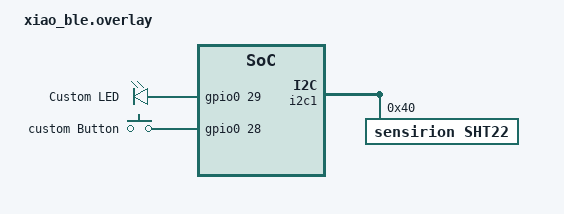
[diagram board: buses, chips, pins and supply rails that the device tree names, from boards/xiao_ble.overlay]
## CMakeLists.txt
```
# SPDX-License-Identifier: Apache-2.0

cmake_minimum_required(VERSION 3.20.0)
find_package(Zephyr REQUIRED HINTS $ENV{ZEPHYR_BASE})
project(doorSensor)

target_sources(app PRIVATE
    src/main.c
    src/ble_service.c
    src/button.c
    src/LED.c
    src/sht_sensor.c
        
)
```

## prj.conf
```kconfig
# I2C temp sensor
CONFIG_I2C=y
CONFIG_SENSOR=y
# CONFIG_SHT22=y
# CONFIG_SHT21=y

CONFIG_GPIO=y
# Prototyping
CONFIG_SHELL=n
CONFIG_I2C_SHELL=n

CONFIG_STDOUT_CONSOLE=y
CONFIG_ASSERT=y
CONFIG_LOG=y
# CONFIG_USB_DEVICE_STACK=y

# Bluetooth LE
CONFIG_BT=y

CONFIG_BT_PERIPHERAL=y
CONFIG_BT_DEVICE_NAME="MY_LBS1"

# Increase stack size for the main thread and System Workqueue
CONFIG_SYSTEM_WORKQUEUE_STACK_SIZE=2048
CONFIG_MAIN_STACK_SIZE=2048
```

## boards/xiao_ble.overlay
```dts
/ {
	leds {
		customled: custom-led {
			gpios = <&gpio0 29 0>;
			label = "Custom LED";
		};
	};

	aliases {
		customled = &customled;
		custombutton = &custombutton;
		temp = &{/soc/i2c@40004000/sht22@40/};
	};

	buttons {
		compatible = "gpio-keys";
		custombutton: custom-button {
			gpios = <&gpio0 28 GPIO_PULL_DOWN>;
			label = "custom Button";		
		};
		debounce-interval-ms = <5000>;
	};
};

&i2c1 {
	// status = "okay";
	sht22@40 {
		compatible = "sensirion,sht22";
		reg = <0x40>;
		status = "okay";
	};
};
```

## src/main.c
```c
#include <stdio.h>
#include <zephyr/kernel.h>
#include <zephyr/device.h>
#include <zephyr/devicetree.h>
#include <zephyr/logging/log.h>
#include <zephyr/drivers/gpio.h>
#include <zephyr/drivers/sensor.h>
#include "ble_service.h"
#include "button.h"
#include "LED.h"

LOG_MODULE_REGISTER(WirelessDoorSensor, LOG_LEVEL_INF);

#define SLEEP_TIME_MS 100
#define TEMP_SENSOR DT_ALIAS(temp)

const struct device *const dev = DEVICE_DT_GET(TEMP_SENSOR);

typedef struct adv_sensor_data {
	int32_t temperature; 
	uint16_t humidity; 
} adv_sensor_data_type;

static adv_sensor_data_type adv_sensor_data = { 0, 0 };

int main(void)
{
	struct sensor_value temp_value;
	struct sensor_value humidity_value;
	__ASSERT(dev != NULL, "Failed to get device binding");
	__ASSERT(device_is_ready(dev), "Device %s is not ready", dev->name);
	printk("device is %p, name is %s\n", dev, dev->name);

	led_init();

	int err;

	ble_init();

	while (1)
	{
		err = sensor_sample_fetch(dev);
		if (err) {
			printk("sensor_sample_fetch failed ret %d\n", err);
			return;
		}
		err = sensor_channel_get(dev, SENSOR_CHAN_AMBIENT_TEMP, &temp_value);
		if (err) {
			printk("Temperature sensor_channel_get failed ret %d\n", err);
			return;
		}
		err = sensor_channel_get(dev, SENSOR_CHAN_HUMIDITY, &humidity_value);
		if (err) {
		printk("Humidity sensor_channel_get failed ret %d\n", err);
			return;
		}
		adv_sensor_data.humidity = humidity_value.val1 * 100 + humidity_value.val2;
		adv_sensor_data.temperature = temp_value.val1 * 100 + temp_value.val2;
		my_lbs_send_temp_notify((uint32_t)adv_sensor_data.temperature);
		my_lbs_send_humidity_notify(adv_sensor_data.humidity);
		printk("temp: %d.%d °C \t humidity is %d.%d%% \n", temp_value.val1,
					  temp_value.val2,humidity_value.val1, humidity_value.val2);
		update_advertisement_data();
		k_msleep(1500);
		
	}

	return 0;
}
```

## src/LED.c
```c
#include <zephyr/drivers/gpio.h>
#include <zephyr/logging/log.h>

#include "LED.h"
LOG_MODULE_REGISTER(LEDModule, LOG_LEVEL_INF);

static const struct gpio_dt_spec custom_led = GPIO_DT_SPEC_GET(CUSTOM_LED, gpios);

int led_init(void)
{
	int ret;
	bool led_state = true;

	if (!gpio_is_ready_dt(&custom_led))
	{
		LOG_ERR("Custom led not ready");
		return -1;
	}
	ret = gpio_pin_configure_dt(&custom_led, GPIO_OUTPUT_ACTIVE);
	if (ret < 0)
	{
		LOG_ERR("Custom led not ready (err %d)", ret);
		return ret;
	}
	return 0;
}
```

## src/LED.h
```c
#ifndef LED_H
#define LED_H

#define CUSTOM_LED DT_ALIAS(customled)

int led_init(void);

#endif
```

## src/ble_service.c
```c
#include <zephyr/bluetooth/bluetooth.h>
#include <zephyr/bluetooth/conn.h>
#include <zephyr/bluetooth/gap.h>
#include <zephyr/bluetooth/gatt.h>
#include <zephyr/bluetooth/gatt.h>
#include <zephyr/bluetooth/uuid.h>
#include <zephyr/bluetooth/addr.h>

#include <zephyr/logging/log.h>
#include "ble_service.h"
LOG_MODULE_REGISTER(BleService, LOG_LEVEL_INF);

struct bt_conn *my_conn = NULL;

static bool notify_temperature_enabled;
static bool notify_humidity_enabled;


static struct bt_gatt_indicate_params ind_params;

void on_connected(struct bt_conn *conn, uint8_t err)
{
    if (err) {
        LOG_ERR("Connection error %d", err);
        return;
    }
    LOG_INF("Connected");
    my_conn = bt_conn_ref(conn);

	// gpio_pin_toggle_dt(&custom_led);
	// gpio_pin_set_dt(&custom_led,1);
}

void on_disconnected(struct bt_conn *conn, uint8_t reason)
{
    LOG_INF("Disconnected. Reason %d", reason);
    bt_conn_unref(my_conn);

	// gpio_pin_toggle_dt(&custom_led);
	// gpio_pin_set_dt(&custom_led,0);

}

struct bt_conn_cb connection_callbacks = {
    .connected = on_connected,
    .disconnected = on_disconnected,
};
static const struct bt_le_adv_param *adv_param = BT_LE_ADV_PARAM(
	(BT_LE_ADV_OPT_CONNECTABLE |
	 BT_LE_ADV_OPT_USE_IDENTITY), /* Connectable advertising and use identity address */
	BT_GAP_ADV_FAST_INT_MIN_1, /* 0x30 units, 48 units, 30ms */
	BT_GAP_ADV_FAST_INT_MAX_1, /* 0x60 units, 96 units, 60ms */
	NULL); /* Set to NULL for undirected advertising */

static const struct bt_data ad[] = {
	BT_DATA_BYTES(BT_DATA_FLAGS, (BT_LE_AD_GENERAL | BT_LE_AD_NO_BREDR)),
	BT_DATA(BT_DATA_NAME_COMPLETE, DEVICE_NAME, DEVICE_NAME_LEN),
};
BT_GATT_SERVICE_DEFINE(
    custom_service,
	BT_GATT_PRIMARY_SERVICE(BT_UUID_MY_SERVICE),
	BT_GATT_CHARACTERISTIC(BT_UUID_MY_TEMPERATURE, BT_GATT_CHRC_READ|BT_GATT_CHRC_NOTIFY,BT_GATT_PERM_READ, my_read_temperature, NULL, NULL),
	BT_GATT_CCC(mylbsbc_ccc_temperature_changed,BT_GATT_PERM_READ | BT_GATT_PERM_WRITE),
	BT_GATT_CHARACTERISTIC(BT_UUID_MY_HUMIDITY, BT_GATT_CHRC_READ|BT_GATT_CHRC_NOTIFY,BT_GATT_PERM_READ, my_read_humidity, NULL, NULL),
	BT_GATT_CCC(mylbsbc_ccc_humidity_changed,BT_GATT_PERM_READ | BT_GATT_PERM_WRITE),

);
ssize_t my_read_temperature(struct bt_conn *conn,const struct bt_gatt_attr *attr, void *buf,uint16_t len, uint16_t offset,int32_t temperature){
    return bt_gatt_attr_read(conn, attr, buf, len, offset,&temperature,sizeof(temperature));
}

ssize_t my_read_humidity(struct bt_conn *conn,const struct bt_gatt_attr *attr, void *buf,uint16_t len, uint16_t offset,uint16_t humidity){
    return bt_gatt_attr_read(conn, attr, buf, len, offset,&humidity,sizeof(humidity));
}

static void mylbsbc_ccc_temperature_changed(const struct bt_gatt_attr *attr,uint16_t value){
	notify_temperature_enabled = (value == BT_GATT_CCC_NOTIFY);
	LOG_INF("Temperature notification %s", notify_temperature_enabled ? "enabled" : "disabled");
}

static void mylbsbc_ccc_humidity_changed(const struct bt_gatt_attr *attr,uint16_t value){
	notify_humidity_enabled = (value == BT_GATT_CCC_NOTIFY);
	LOG_INF("Humidity notification %s", notify_humidity_enabled ? "enabled" : "disabled");
}



int my_lbs_send_temp_notify(uint32_t temp_value)
{
	if (!notify_temperature_enabled) {
		LOG_ERR("notify_temperature_enabled is not enabled/set");
		return -EACCES;
	}

	return bt_gatt_notify(NULL, &custom_service.attrs[2],&temp_value,sizeof(temp_value));
}

int my_lbs_send_humidity_notify(uint16_t humidity_value){
	if (!notify_humidity_enabled) {
		LOG_ERR("notify_humidity_enabled is not enabled/set");
		return -EACCES;
	}

	return bt_gatt_notify(NULL, &custom_service.attrs[4],&humidity_value,sizeof(humidity_value));
}
int ble_init(){
    int err = bt_conn_cb_register(&connection_callbacks);
    if (err) {
		LOG_ERR("Connection callback register failed (err %d)", err);
        return err;
    }
    err = bt_enable(NULL);
	if (err)
	{
		LOG_ERR("Bluetooth init failed (err %d)\n", err);
		return err;
	}
	err = bt_le_adv_start(adv_param, ad, ARRAY_SIZE(ad), NULL ,0);
	if (err)
	{
		LOG_ERR("Advertising failed to start (err %d)\n", err);
		return err;
	}
    return 0;
}

void update_advertisement_data(){
    bt_le_adv_update_data(ad, ARRAY_SIZE(ad), NULL,0);
}
```

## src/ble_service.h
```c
#ifndef BLE_SERVICE_H
#define BLE_SERVICE_H
#include <stdio.h>
#include <zephyr/kernel.h>

#include <zephyr/bluetooth/bluetooth.h>
#include <zephyr/bluetooth/conn.h>
#include <zephyr/bluetooth/gap.h>
#include <zephyr/bluetooth/gatt.h>
#include <zephyr/bluetooth/gatt.h>
#include <zephyr/bluetooth/uuid.h>
#include <zephyr/bluetooth/addr.h>

#define BT_UUID_MY_SERVICE_VALUE BT_UUID_128_ENCODE(0xc504356a,0x8d14,0x480b,0x8fca,0x09800799ccf1)
#define BT_UUID_MY_SERVICE BT_UUID_DECLARE_128(BT_UUID_MY_SERVICE_VALUE)

#define BT_UUID_MY_TEMPERATURE_VALUE BT_UUID_128_ENCODE(0xc504356a,0x8d14,0x480b,0x8fca,0x09800799ccf2)
#define BT_UUID_MY_TEMPERATURE BT_UUID_DECLARE_128(BT_UUID_MY_TEMPERATURE_VALUE)

#define BT_UUID_MY_HUMIDITY_VALUE BT_UUID_128_ENCODE(0xc504356a,0x8d14,0x480b,0x8fca,0x09800799ccf3)
#define BT_UUID_MY_HUMIDITY BT_UUID_DECLARE_128(BT_UUID_MY_HUMIDITY_VALUE)

#define DEVICE_NAME CONFIG_BT_DEVICE_NAME
#define DEVICE_NAME_LEN (sizeof(DEVICE_NAME) - 1)

ssize_t my_read_temperature(struct bt_conn *conn,const struct bt_gatt_attr *attr, void *buf,uint16_t len, uint16_t offset,int32_t temperature);
ssize_t my_read_humidity(struct bt_conn *conn,const struct bt_gatt_attr *attr, void *buf,uint16_t len, uint16_t offset,uint16_t humidity);

static void mylbsbc_ccc_temperature_changed(const struct bt_gatt_attr *attr,uint16_t value);
static void mylbsbc_ccc_humidity_changed(const struct bt_gatt_attr *attr,uint16_t value);

int ble_init();
void update_advertisement_data();
void on_connected(struct bt_conn *conn, uint8_t err);
void on_disconnected(struct bt_conn *conn, uint8_t reason);


#endif
```

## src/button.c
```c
#include "button.h"

static const struct gpio_dt_spec custom_button = GPIO_DT_SPEC_GET(CUSTOM_BUTTON, gpios);
static struct gpio_callback button_cb_data;

static void button_pressed(const struct device *dev, struct gpio_callback *cb, uint32_t pins)
{
	// printf("Pressed\n");
    // led_toggle();
    // gpio_pin_toggle_dt(&custom_led);
}

int button_init(void)
{
	if (!gpio_is_ready_dt(&custom_button))
	{
		return -1;
	}

	int ret = gpio_pin_configure_dt(&custom_button, GPIO_INT_EDGE_TO_ACTIVE);
	gpio_pin_interrupt_configure_dt(&custom_button, GPIO_INT_EDGE_TO_ACTIVE);
	if (ret < 0)
	{
		return ret;
	}
    gpio_init_callback(&button_cb_data, button_pressed, BIT(custom_button.pin)); 	
	gpio_add_callback(custom_button.port, &button_cb_data);
	gpio_add_callback_dt(&custom_button, &button_cb_data);
	return 0;
}
```

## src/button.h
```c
#ifndef BUTTON_H
#define BUTTON_H
#include <zephyr/drivers/gpio.h>

#define CUSTOM_BUTTON DT_ALIAS(custombutton)

static void button_pressed(const struct device *dev, struct gpio_callback *cb, uint32_t pins);

int button_init(void);
#endif
```

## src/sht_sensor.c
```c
#include "sht_sensor.h"

LOG_MODULE_REGISTER(ShtSensor, LOG_LEVEL_INF);

typedef struct adv_sensor_data {
	int32_t temperature; 
	uint16_t humidity; 
} adv_sensor_data_type;

static adv_sensor_data_type adv_sensor_data = { 0, 0 };

int sht_sensor_init(void) {
	__ASSERT(dev != NULL, "Failed to get device binding");
	__ASSERT(device_is_ready(dev), "Device %s is not ready", dev->name);
	printk("device is %p, name is %s\n", dev, dev->name);

    return 0;
}

sensor_value sht_sensor_get_temp_c(void) {
    struct sensor_value temp_value;
    int err = sensor_sample_fetch(dev);
    err = sensor_channel_get(dev, SENSOR_CHAN_AMBIENT_TEMP, &temp_value);
    return err;
}

sensor_value sht_sensor_get_humidity(void) {
	struct sensor_value humidity_value;
    int err = sensor_sample_fetch(dev);
    err = sensor_channel_get(dev, SENSOR_CHAN_HUMIDITY, &humidity_value);
    return err;
}
```

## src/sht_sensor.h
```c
#ifndef SHT_SENSOR_H
#define SHT_SENSOR_H

#include <zephyr/kernel.h>
#include <zephyr/device.h>
#include <zephyr/drivers/sensor.h>
#include <zephyr/drivers/gpio.h>

#define TEMP_SENSOR DT_ALIAS(temp)
const struct device *const dev = DEVICE_DT_GET(TEMP_SENSOR);

int sht_sensor_init(void);
sensor_value sht_sensor_get_temp_c(void);
sensor_value sht_sensor_get_humidity(void);

#endif
```
